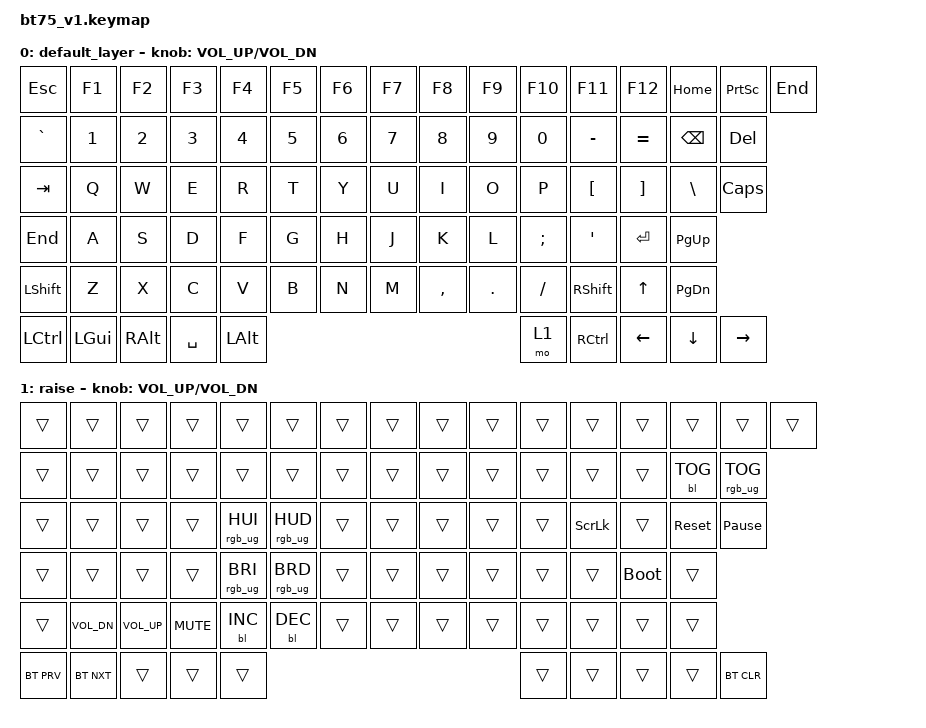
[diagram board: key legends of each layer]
#include <behaviors.dtsi>
#include <dt-bindings/zmk/backlight.h>
#include <dt-bindings/zmk/bt.h>
#include <dt-bindings/zmk/keys.h>
#include <dt-bindings/zmk/rgb.h>

#define ANSI

//#define ISO
//#define ALL_1U

/ {
    chosen {
        #ifdef ANSI

        zmk,matrix_transform = &ansi_transform;

        #elif defined(ISO)

        zmk,matrix_transform = &iso_transform;

        #elif defined(ALL_1U)

        zmk,matrix_transform = &all_1u_transform;

        #else
  #error "Layout not defined, please define a layout using by uncommenting the appropriate line in bt75_v1.keymap"
  #endif
    };

    keymap {
        compatible = "zmk,keymap";

        #ifdef ANSI

        default_layer {
            // ------------------------------------------------------------------------------------------------
            // | ESC | F1  | F2  | F3  | F4  | F5  | F6  | F7  | F9  | F9  | F10 | F11 | F12 |PSCRN|HOME| END |
            // |GRAVE|  1  |  2  |  3  |  4  |  5  |  6  |  7  |  8  |  9  |  0  |  -  |  =  |   BKSP   | DEL |
            // | TAB   |  Q  |  W  |  E  |  R  |  T  |  Y  |  U  |  I  |  O  |  P  |  [  |  ]  |   \    | INS |
            // | CAPS   |  A  |  S  |  D  |  F  |  G  |  H  |  J  |  K  |  L  |  ;  |  '  |    ENTER    | PGUP|
            // |  SHIFT   |  Z  |  X  |  C  |  V  |  B  |  N  |  M  |  ,  |  .  |  /  |   SHIFT   | UP  | PGDN|
            // |  CTL  |  WIN  |  ALT  |             SPACE                | ALT |  1  |RCTRL| LEFT| DOWN|RIGHT|
            // ------------------------------------------------------------------------------------------------

            bindings = < 
&kp ESC    &kp F1    &kp F2    &kp F3  &kp F4  &kp F5  &kp F6    &kp F7    &kp F8      &kp F9    &kp F10     &kp F11      &kp F12      &kp HOME  &kp PSCRN  &kp END    
&kp GRAVE  &kp N1    &kp N2    &kp N3  &kp N4  &kp N5  &kp N6    &kp N7    &kp N8      &kp N9    &kp N0      &kp MINUS    &kp EQUAL    &kp BKSP  &kp DEL            
&kp TAB    &kp Q     &kp W     &kp E   &kp R   &kp T   &kp Y     &kp U     &kp I       &kp O     &kp P       &kp LBKT     &kp RBKT     &kp BSLH  &kp CLCK
&kp END    &kp A     &kp S     &kp D   &kp F   &kp G   &kp H     &kp J     &kp K       &kp L     &kp SEMI    &kp SQT      &kp RET      &kp PG_UP                    
&kp LSHFT  &kp Z     &kp X     &kp C   &kp V   &kp B   &kp N     &kp M     &kp COMMA   &kp DOT   &kp FSLH    &kp RSHFT    &kp UP       &kp PG_DN  
&kp LCTRL  &kp LGUI  &kp RALT                     &kp SPACE                            &kp LALT  &mo 1       &kp RCTRL    &kp LEFT     &kp DOWN   &kp RIGHT
                                                                
            >;

            sensor-bindings = <&inc_dec_kp C_VOL_UP C_VOL_DN>;
        };

        raise {
            // --------------------------------------------------------------------------------------------------
            // | ESC | F1  | F2  | F3  | F4  | F5  | F6  | F7  | F9  | F9  | F10 | F11 | F12 |PSCRN| HOME| END |
            // |GRAVE|  1  |  2  |  3  |  4  |  5  |  6  |  7  |  8  |  9  |  0  |  -  |  =  |  BL_TOG  |RGB_TOG|
            // | TAB  |  Q  |  W  |  E  | HUI | HUD |  Y  |  U  |  I  |  O  |  P  | SLCK|  ]  |  RESET   | P_BRK|
            // | CAPS  |  A  |  S  |  D  | BRI | BRD |  H  |  J  |  K  |  L  |  ;  |  '  |     BOOT      | PG_UP|
            // |  SHIFT   |VOLDN|VOLUP| MUTE|BLINC|BLDEC|  N  |  M  |  ,  |  .  |  /  |    SHIFT  | UP   | PG_DN|
            // | BT_PRV| BT_NXT|  ALT  |            SPACE               | ALT |  1  | CTRL | LEFT | DOWN |BT_CLR|
            // --------------------------------------------------------------------------------------------------

            bindings = <
&trans        &trans        &trans              &trans           &trans           &trans  &trans  &trans  &trans  &trans  &trans    &trans       &trans      &trans      &trans             &trans
&trans        &trans        &trans              &trans           &trans           &trans  &trans  &trans  &trans  &trans  &trans    &trans       &trans      &bl BL_TOG  &rgb_ug RGB_TOG    &trans
&trans        &trans        &trans              &rgb_ug RGB_HUI  &rgb_ug RGB_HUD  &trans  &trans  &trans  &trans  &trans  &kp SLCK  &trans       &sys_reset              &kp PAUSE_BREAK    &trans
&trans        &trans        &trans              &rgb_ug RGB_BRI  &rgb_ug RGB_BRD  &trans  &trans  &trans  &trans  &trans  &trans    &bootloader              &trans                         &trans
&kp C_VOL_DN  &kp C_VOL_UP  &kp C_MUTE          &bl BL_INC       &bl BL_DEC       &trans  &trans  &trans  &trans  &trans  &trans    &trans       &trans      &bt BT_PRV  &bt BT_NXT         &trans
&trans        &trans                    &trans                                            &trans                          &trans    &trans       &bt BT_CLR
            >;

            sensor-bindings = <&inc_dec_kp C_VOL_UP C_VOL_DN>;
        };

        #elif defined(ISO)



        #elif defined(ALL_1U)



        #else
    #error "Layout not defined, please define a layout by uncommenting the appropriate line in bt75.keymap"
    #

        endif
    };
};
